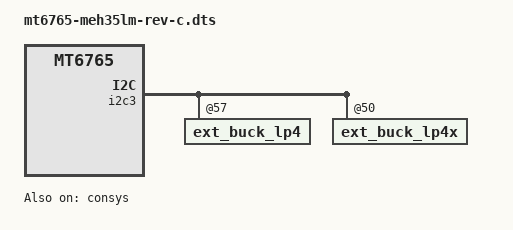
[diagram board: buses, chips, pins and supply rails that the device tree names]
/*
 * Copyright (C) 2019 MediaTek Inc.
 *
 * This program is free software; you can redistribute it and/or modify
 * it under the terms of the GNU General Public License version 2 as
 * published by the Free Software Foundation.
 *
 * This program is distributed in the hope that it will be useful,
 * but WITHOUT ANY WARRANTY; without even the implied warranty of
 * MERCHANTABILITY or FITNESS FOR A PARTICULAR PURPOSE.
 * See http://www.gnu.org/licenses/gpl-2.0.html for more details.
 */
#include <dt-bindings/interrupt-controller/arm-gic.h>
#include <dt-bindings/interrupt-controller/irq.h>
#include <dt-bindings/pinctrl/mt6765-pinfunc.h>
#include <dt-bindings/clock/mt6765-clk.h>

/dts-v1/;
/plugin/;

#include "mt6765-meh35lm-camera.dtsi"
#include "mt6765-meh35lm-common.dtsi"
#include "mt6765-meh35lm-fingerprint.dtsi"
#include "mt6765-meh35lm-misc.dtsi"
#include "mt6765-meh35lm-nfc.dtsi"
#include "mt6765-meh35lm-panel.dtsi"
#include "mt6765-meh35lm-power.dtsi"
#include "mt6765-meh35lm-sensor.dtsi"
#include "camera_ldo.dtsi"
#include "mt6765-meh35lm-sound.dtsi"
#include "mt6765-meh35lm-touch.dtsi"
#include "mt6765-meh35lm-usb.dtsi"
#include "mt6765-meh35lm-mme.dtsi"
#include "mt6765-meh35lm-cust.dtsi"

/{
	board {
		/*
		   typedef enum {
		   HW_REV_0 = 0,
		   HW_REV_0_1,
		   HW_REV_A,
		   HW_REV_B,
		   HW_REV_C,
		   HW_REV_1_0,
		   HW_REV_1_1,
		   HW_REV_MAX
		   } rev_type;
		 */
		lge,pcb_revision = <0x4>; // rev_c
	};
};

/* chosen */
&chosen {

	/* fpga may has no lk, we need to specify display info here */
	/* fb buffer is reserved using this dts by memory node above */
	atag,videolfb-fb_base_h = <0x0>;
	atag,videolfb-fb_base_l = <0x5e605000>;
	atag,videolfb-islcmfound = <1>;
	/* because no lk, so lcm is not inited */
	atag,videolfb-islcm_inited = <0>;
	atag,videolfb-fps= <6000>;
	atag,videolfb-vramSize= <0x017bb000>;
	atag,videolfb-lcmname= "nt35695B_fhd_dsi_cmd_auo_rt5081_drv";
};

&i2c3 {
	ext_buck_lp4@57 {
		regulator-name ="ext_buck_vdd2";
		regulator-min-microvolt = <300000>;
		regulator-max-microvolt = <1300000>;
		vsel_pin = <0>;
	};

	ext_buck_lp4x@50 {
		regulator-name ="ext_buck_vddq";
		regulator-min-microvolt = <300000>;
		regulator-max-microvolt = <1300000>;
		vsel_pin = <1>;
	};
};

/*
&i2c6 {
	ext_buck_vgpu@55 {
		regulator-name ="ext_buck_vgpu";
		regulator-min-microvolt = <300000>;
		regulator-max-microvolt = <1300000>;
		vsel_pin = <2>;
	};
};
*/

/* IRTX GPIO end */
/*
&irtx_pwm {
	pinctrl-names = "irtx_gpio_led_default", "irtx_gpio_led_set";
	pinctrl-0 = <&irtx_gpio_led_default>;
	pinctrl-1 = <&irtx_gpio_led_set>;
	status = "okay";
};
&pio {
	irtx_gpio_led_default:irtx_gpio_led_def@gpio90 {
		pins_cmd_dat {
			pinmux = <PINMUX_GPIO90__FUNC_GPIO90>;
			slew-rate = <1>;
			bias-disable;
			output-low;
			input-schmitt-enable = <0>;
		};
	};

	irtx_gpio_led_set:irtx_gpio_led_set@gpio90 {
		pins_cmd_dat {
			pinmux = <PINMUX_GPIO90__FUNC_PWM0>;
			slew-rate = <1>;
			output-high;
		};
	};
};
*/
/* IRTX GPIO Settings -End */

/* [LGE_GNSS] LGP_GNSS_0332, LGP_GNSS_GPS_LNA_PIN_MTK, 20200528, daewon84.yoo, GPS LNA control for EH15 */
/* CONSYS GPIO standardization */
&pio {
	consys_pins_default: consys_default {
	};
	gpslna_pins_init: gpslna@0 {
		pins_cmd_dat {
			pinmux = <PINMUX_GPIO13__FUNC_GPIO13>;
			slew-rate = <0>;
			bias-disable;
			output-low;
		};
	};
	gpslna_pins_oh: gpslna@1 {
		pins_cmd_dat {
			pinmux = <PINMUX_GPIO13__FUNC_GPIO13>;
			slew-rate = <1>;
			output-high;
		};
	};
	gpslna_pins_ol: gpslna@2 {
		pins_cmd_dat {
			pinmux = <PINMUX_GPIO13__FUNC_GPIO13>;
			slew-rate = <1>;
			output-low;
		};
	};
};
&consys {
	pinctrl-names = "default", "gps_lna_state_init",
		"gps_lna_state_oh", "gps_lna_state_ol";
	pinctrl-0 = <&consys_pins_default>;
	pinctrl-1 = <&gpslna_pins_init>;
	pinctrl-2 = <&gpslna_pins_oh>;
	pinctrl-3 = <&gpslna_pins_ol>;
	status = "okay";
};
/* CONSYS end */
